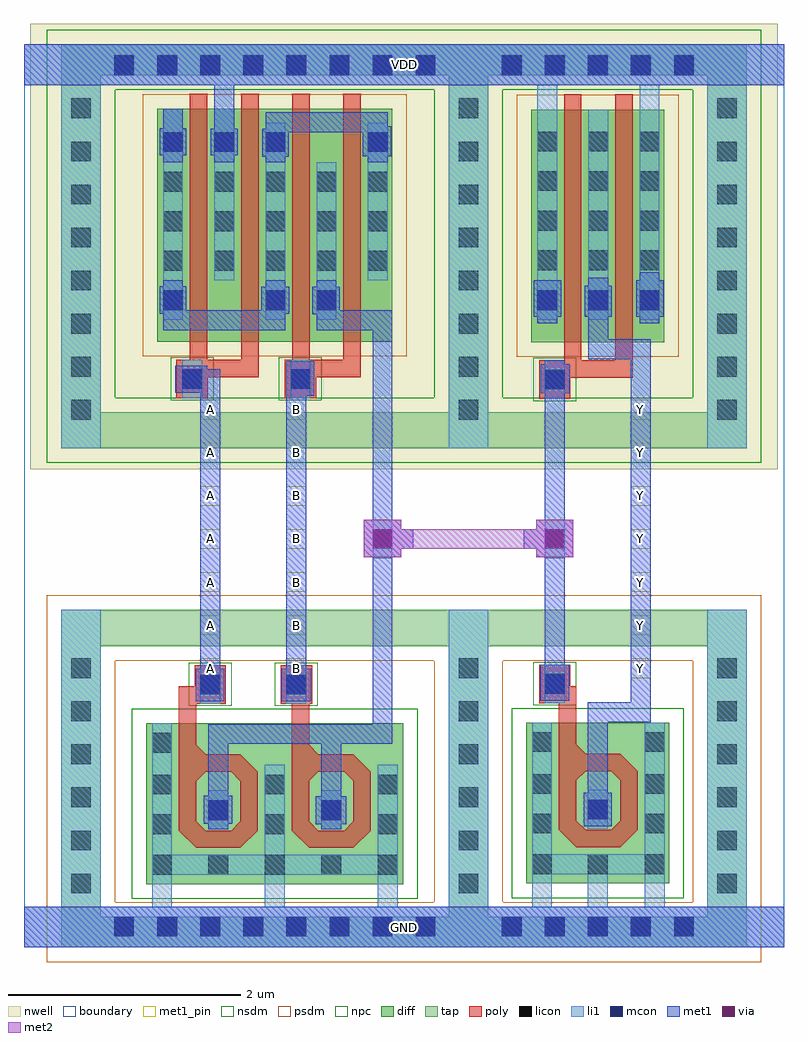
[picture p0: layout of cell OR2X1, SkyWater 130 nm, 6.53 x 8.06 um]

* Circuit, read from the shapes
.subckt OR2X1 A B GND VDD Y
XM1 GND A n1 GND sky130_fd_pr__nfet_01v8 w=2.56 l=0.1461
XM2 GND B n1 GND sky130_fd_pr__nfet_01v8 w=2.56 l=0.1479
XM3 GND n1 Y GND sky130_fd_pr__nfet_01v8 w=2.56 l=0.1518
XM4 VDD A n2 VDD sky130_fd_pr__pfet_01v8 w=2 l=0.15 m=2
XM5 n1 B n2 VDD sky130_fd_pr__pfet_01v8 w=2 l=0.15 m=2
XM6 Y n1 VDD VDD sky130_fd_pr__pfet_01v8 w=2 l=0.15 m=2
.ends

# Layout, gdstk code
from math import pi, radians
import gdstk
lib = gdstk.Library(unit=1e-6, precision=1e-09)
def R(c, l, rs):  # rectangles x0, y0, x1, y1
    for r in rs: c.add(gdstk.rectangle(r[:2], r[2:], *l))
def A(c, l, x, y, w, h, nx, ny, dx, dy):  # array of equal rectangles
    R(c, l, [(x+i*dx, y+j*dy, x+i*dx+w, y+j*dy+h) for i in range(nx) for j in range(ny)])
def P(c, l, *ps):  # polygons
    for p in ps: c.add(gdstk.Polygon(p, *l))
nwell = (64, 20)
diff = (65, 20)
tap = (65, 44)
poly = (66, 20)
licon = (66, 44)
li1 = (67, 20)
mcon = (67, 44)
met1_pin = (68, 16)
met1 = (68, 20)
via = (68, 44)
met2 = (69, 20)
nsdm = (93, 44)
psdm = (94, 20)
npc = (95, 20)
boundary = (235, 4)

diff_ring_side = lib.new_cell('diff_ring_side')
R(diff_ring_side, nwell, [(-0.435,3.93,0.435,7.75)])
R(diff_ring_side, tap, [(-0.17,-0.17,0.17,2.72), (-0.17,4.11,0.17,7.57)])
A(diff_ring_side, licon, -0.085, 0.285, 0.17, 0.17, 1, 6, 0, 0.37)
A(diff_ring_side, licon, -0.085, 4.355, 0.17, 0.17, 1, 8, 0, 0.37)
R(diff_ring_side, li1, [(-0.17,-0.17,0.17,2.72), (-0.17,4.11,0.17,7.57)])
R(diff_ring_side, met1, [(-0.17,-0.17,0.17,0.17), (-0.17,7.23,0.17,7.57)])
R(diff_ring_side, nsdm, [(-0.295,3.985,0.295,7.695)])
R(diff_ring_side, psdm, [(-0.295,-0.295,0.295,2.845)])

nmos_top_trim1 = lib.new_cell('nmos_top_trim1')
R(nmos_top_trim1, diff, [(0,0,1.24,1.38)])
R(nmos_top_trim1, poly, [(0.43,0.31,0.81,0.46), (0.28,0.46,0.43,0.965), (0.81,0.46,0.96,0.965), (0.43,0.965,0.96,1.115), (0.81,1.115,0.96,1.545)])
P(nmos_top_trim1, poly, [(0.73,1.115),(0.81,1.115),(0.81,1.195)],
  [(0.28,0.965),(0.43,0.965),(0.43,1.115)],
  [(0.43,0.885),(0.43,0.965),(0.51,0.965)],
  [(0.73,0.965),(0.81,0.965),(0.81,0.885)],
  [(0.43,0.54),(0.43,0.46),(0.51,0.46)],
  [(0.73,0.46),(0.81,0.46),(0.81,0.54)],
  [(0.28,0.46),(0.43,0.46),(0.43,0.31)],
  [(0.81,0.31),(0.81,0.46),(0.96,0.46)])
A(nmos_top_trim1, licon, 0.05, 0.08, 0.17, 0.17, 3, 1, 0.485, 0)
R(nmos_top_trim1, licon, [(0.05,0.43,0.22,0.6), (1.02,0.43,1.19,0.6), (0.535,0.55,0.705,0.72), (0.05,0.77,0.22,0.94), (1.02,0.77,1.19,0.94), (1.02,1.13,1.19,1.3)])
R(nmos_top_trim1, li1, [(0.05,0,0.22,0.08), (1.02,0,1.19,0.08), (0.05,0.08,1.19,0.25), (0.05,0.25,0.22,1.02), (1.02,0.25,1.19,1.38), (0.535,0.47,0.705,0.805)])
R(nmos_top_trim1, nsdm, [(-0.125,-0.125,1.365,1.505)])

pmos2_1 = lib.new_cell('pmos2_1')
R(pmos2_1, nwell, [(0.26,-2.175,1.76,0.185)])
R(pmos2_1, diff, [(0.44,-1.995,1.58,0.005)])
R(pmos2_1, poly, [(0.72,-2.3,1.31,-2.15), (0.72,-2.15,0.87,0.135), (1.16,-2.15,1.31,0.135)])
A(pmos2_1, licon, 0.49, -1.385, 0.17, 0.17, 3, 3, 0.44, 0.34)
A(pmos2_1, li1, 0.49, -1.465, 0.17, 1.01, 3, 1, 0.44, 0)
R(pmos2_1, psdm, [(0.315,-2.12,1.705,0.13)])

poly_li1_contact = lib.new_cell('poly_li1_contact')
R(poly_li1_contact, poly, [(-0.16,-0.14,0.17,0.13)])
R(poly_li1_contact, licon, [(-0.08,-0.09,0.09,0.08)])
R(poly_li1_contact, li1, [(-0.16,-0.09,0.17,0.08)])
R(poly_li1_contact, npc, [(-0.18,-0.19,0.19,0.18)])

nmos_top_trim2 = lib.new_cell('nmos_top_trim2')
R(nmos_top_trim2, diff, [(0,0,1.24,1.38)])
R(nmos_top_trim2, poly, [(0.43,0.31,0.81,0.46), (0.28,0.46,0.43,0.89), (0.81,0.46,0.96,0.89), (0.28,0.89,0.435,0.965), (0.805,0.89,0.96,0.965), (0.43,0.965,0.96,1.115), (0.81,1.115,0.96,1.545)])
P(nmos_top_trim2, poly, [(0.73,1.115),(0.81,1.115),(0.81,1.195)],
  [(0.28,0.965),(0.43,0.965),(0.43,1.115)],
  [(0.435,0.89),(0.435,0.965),(0.51,0.965)],
  [(0.73,0.965),(0.805,0.965),(0.805,0.89)],
  [(0.43,0.54),(0.43,0.46),(0.51,0.46)],
  [(0.73,0.46),(0.81,0.46),(0.81,0.54)],
  [(0.28,0.46),(0.43,0.46),(0.43,0.31)],
  [(0.81,0.31),(0.81,0.46),(0.96,0.46)])
A(nmos_top_trim2, licon, 0.05, 0.08, 0.17, 0.17, 3, 1, 0.485, 0)
R(nmos_top_trim2, licon, [(0.05,0.43,0.22,0.6), (1.02,0.43,1.19,0.6), (0.535,0.55,0.705,0.72), (0.05,0.77,0.22,0.94), (1.02,0.77,1.19,0.94)])
R(nmos_top_trim2, li1, [(0.05,0,0.22,0.08), (1.02,0,1.19,0.08), (0.05,0.08,1.19,0.25), (0.05,0.25,0.22,1.025), (1.02,0.25,1.19,1.025), (0.535,0.47,0.705,0.805)])
R(nmos_top_trim2, nsdm, [(-0.125,-0.125,1.365,1.505)])

nor2x1_pcell = lib.new_cell('nor2x1_pcell')
R(nor2x1_pcell, nwell, [(0.435,3.93,2.895,7.75)])
A(nor2x1_pcell, diff, 0.705, 6.655, 0.17, 0.17, 3, 1, 0.44, 0)
R(nor2x1_pcell, diff, [(0.705,5.215,0.875,5.465), (1.585,5.215,1.755,5.25), (2.025,5.215,2.195,5.25), (1.585,5.295,1.755,5.465), (2.025,5.295,2.195,5.465), (2.465,6.655,2.635,6.825)])
R(nor2x1_pcell, tap, [(0.17,-0.17,3.16,0.085), (0.17,2.41,3.16,2.72), (0.17,4.11,3.16,4.42), (0.17,7.315,3.16,7.57)])
R(nor2x1_pcell, poly, [(0.84,1.875,0.99,2.065), (1.81,1.91,1.96,1.915)])
A(nor2x1_pcell, licon, 0.285, -0.085, 0.17, 0.17, 8, 2, 0.37, 7.4)
A(nor2x1_pcell, licon, 0.705, 6.655, 0.17, 0.17, 3, 1, 0.44, 0)
R(nor2x1_pcell, licon, [(0.705,5.295,0.875,5.465), (1.585,5.295,1.755,5.465), (2.025,5.295,2.195,5.465), (2.465,6.655,2.635,6.825)])
R(nor2x1_pcell, li1, [(0.165,-0.17,3.285,0.17), (0.61,0.17,0.78,0.785), (1.58,0.17,1.75,0.445), (2.55,0.17,2.72,0.445), (1.095,0.915,1.265,1.085), (2.065,0.915,2.235,1.085), (1.025,1.995,1.195,2.165), (1.765,1.995,1.935,2.165), (0.87,4.62,1.04,4.79), (1.8,4.62,1.97,4.79), (0.705,5.215,0.875,5.975), (1.585,5.215,1.755,5.975), (2.025,5.215,2.195,5.975), (1.145,6.145,1.315,7.025), (1.585,6.145,1.755,6.905), (2.465,6.145,2.635,6.905), (0.705,6.56,0.875,7.025), (-0.17,7.23,3.335,7.57)])
A(nor2x1_pcell, mcon, 0.285, -0.085, 0.17, 0.17, 8, 2, 0.37, 7.4)
A(nor2x1_pcell, mcon, 0.705, 6.655, 0.17, 0.17, 3, 1, 0.44, 0)
R(nor2x1_pcell, mcon, [(1.095,0.915,1.265,1.085), (2.065,0.915,2.235,1.085), (1.025,1.995,1.195,2.165), (1.765,1.995,1.935,2.165), (0.87,4.62,1.04,4.79), (1.8,4.62,1.97,4.79), (0.705,5.295,0.875,5.465), (1.585,5.295,1.755,5.465), (2.025,5.295,2.195,5.465), (2.465,6.655,2.635,6.825)])
R(nor2x1_pcell, met1, [(0.17,-0.17,3.16,0.17), (1.095,0.835,1.265,0.885), (2.065,0.835,2.235,0.88), (2.015,0.88,2.28,1.12), (1.055,0.885,1.3,1.125), (2.065,1.12,2.235,1.57), (1.095,1.125,1.265,1.57), (1.095,1.57,2.675,1.74), (2.505,1.74,2.675,5.125), (0.985,1.935,1.23,2.215), (1.72,1.935,1.975,2.215), (1.025,2.215,1.195,4.585), (1.765,2.215,1.935,4.56), (1.765,4.56,2.005,4.855), (0.81,4.585,1.195,4.79), (0.81,4.79,1.085,4.82), (0.705,5.125,1.755,5.265), (2.025,5.125,2.675,5.26), (1.985,5.26,2.675,5.295), (0.675,5.265,1.79,5.295), (0.675,5.295,0.905,5.5), (1.55,5.295,1.79,5.495), (1.985,5.295,2.225,5.495), (1.585,5.495,1.755,5.555), (2.025,5.495,2.195,5.555), (0.705,5.5,0.875,5.555), (0.705,6.565,0.875,6.625), (1.145,6.565,1.315,6.625), (1.585,6.565,1.755,6.615), (2.465,6.565,2.635,6.62), (1.555,6.615,1.785,6.825), (2.42,6.62,2.665,6.825), (0.675,6.625,0.905,6.86), (1.115,6.625,1.345,6.855), (1.555,6.825,2.665,6.855), (1.145,6.855,1.315,7.23), (1.585,6.855,2.665,6.875), (0.705,6.86,0.875,7.025), (1.585,6.875,2.635,6.995), (0.17,7.23,3.16,7.57)])
R(nor2x1_pcell, nsdm, [(0.045,3.985,3.285,4.545), (0.045,7.19,3.285,7.695)])
R(nor2x1_pcell, psdm, [(0.045,-0.295,3.285,0.21), (0.045,2.285,3.285,2.845), (0.58,5.09,1,5.59), (1.46,5.09,2.32,5.59), (0.58,6.53,1.88,6.95), (2.34,6.53,2.76,6.95)])
nor2x1_pcell.add(gdstk.Reference(diff_ring_side, (0,0)))
nor2x1_pcell.add(gdstk.Reference(nmos_top_trim1, (1.8,0.365), rotation=pi, x_reflection=True))
nor2x1_pcell.add(gdstk.Reference(pmos2_1, (0.215,7.02)))
nor2x1_pcell.add(gdstk.Reference(poly_li1_contact, (0.96,4.71), rotation=3*pi/2))
nor2x1_pcell.add(gdstk.Reference(poly_li1_contact, (1.115,2.085), rotation=3*pi/2))
nor2x1_pcell.add(gdstk.Reference(nmos_top_trim2, (2.77,0.365), rotation=pi, x_reflection=True))
nor2x1_pcell.add(gdstk.Reference(pmos2_1, (1.095,7.02)))
nor2x1_pcell.add(gdstk.Reference(poly_li1_contact, (1.845,2.075), rotation=pi/2))
nor2x1_pcell.add(gdstk.Reference(poly_li1_contact, (1.89,4.71), rotation=3*pi/2))
nor2x1_pcell.add(gdstk.Reference(diff_ring_side, (3.33,0)))

li1_m1_contact = lib.new_cell('li1_M1_contact')
R(li1_m1_contact, li1, [(-0.085,-0.165,0.085,0.165)])
R(li1_m1_contact, mcon, [(-0.085,-0.085,0.085,0.085)])
R(li1_m1_contact, met1, [(-0.115,-0.115,0.115,-0.085), (-0.265,-0.085,0.145,0.085), (-0.115,0.085,0.115,0.115)])

pmos2 = lib.new_cell('pmos2')
R(pmos2, nwell, [(0.26,-2.18,1.76,0.18)])
R(pmos2, diff, [(0.44,-2,1.58,0)])
R(pmos2, poly, [(0.72,-2.305,1.31,-2.155), (0.72,-2.155,0.87,0.13), (1.16,-2.155,1.31,0.13)])
A(pmos2, licon, 0.49, -1.38, 0.17, 0.17, 3, 4, 0.44, 0.34)
R(pmos2, li1, [(0.49,-1.465,0.66,0.21), (0.93,-1.465,1.1,0), (1.37,-1.465,1.54,0.21)])
R(pmos2, psdm, [(0.315,-2.125,1.705,0.125)])

nmos_top = lib.new_cell('nmos_top')
R(nmos_top, diff, [(0,0,1.23,1.38)])
R(nmos_top, poly, [(0.42,0.31,0.8,0.46), (0.27,0.46,0.42,0.965), (0.8,0.46,0.95,0.965), (0.42,0.965,0.95,1.115), (0.8,1.115,0.95,1.54)])
P(nmos_top, poly, [(0.72,1.115),(0.8,1.115),(0.8,1.195)],
  [(0.27,0.965),(0.42,0.965),(0.42,1.115)],
  [(0.42,0.885),(0.42,0.965),(0.5,0.965)],
  [(0.72,0.965),(0.8,0.965),(0.8,0.885)],
  [(0.42,0.54),(0.42,0.46),(0.5,0.46)],
  [(0.72,0.46),(0.8,0.46),(0.8,0.54)],
  [(0.27,0.46),(0.42,0.46),(0.42,0.31)],
  [(0.8,0.31),(0.8,0.46),(0.95,0.46)])
R(nmos_top, licon, [(0.04,0.08,0.21,0.25), (0.53,0.08,0.7,0.25), (1.01,0.08,1.18,0.25), (0.04,0.43,0.21,0.6), (1.01,0.43,1.18,0.6), (0.53,0.55,0.7,0.72), (0.04,0.77,0.21,0.94), (1.01,0.77,1.18,0.94), (0.04,1.13,0.21,1.3), (1.01,1.13,1.18,1.3)])
R(nmos_top, li1, [(0.04,0,0.21,0.08), (1.01,0,1.18,0.08), (0.04,0.08,1.18,0.25), (0.04,0.25,0.21,1.38), (1.01,0.25,1.18,1.38), (0.53,0.47,0.7,0.805)])
R(nmos_top, nsdm, [(-0.125,-0.125,1.355,1.505)])

invx1_pcell = lib.new_cell('invx1_pcell')
R(invx1_pcell, nwell, [(-0.435,3.93,2.655,7.75)])
A(invx1_pcell, diff, 0.59, 5.295, 0.17, 0.17, 3, 1, 0.44, 0)
R(invx1_pcell, tap, [(0.17,-0.17,2.05,0.085), (0.17,2.41,2.05,2.72), (0.17,4.11,2.05,4.42), (0.17,7.315,2.05,7.57)])
R(invx1_pcell, poly, [(0.775,1.905,0.925,2.065)])
A(invx1_pcell, licon, 0.285, -0.085, 0.17, 0.17, 5, 2, 0.37, 7.4)
A(invx1_pcell, licon, 0.59, 5.295, 0.17, 0.17, 3, 1, 0.44, 0)
A(invx1_pcell, li1, 0.59, 5.215, 0.17, 0.37, 3, 1, 0.44, 0)
R(invx1_pcell, li1, [(-0.17,-0.17,2.33,0.17), (0.545,0.17,0.715,0.42), (1.025,0.17,1.195,0.45), (1.515,0.17,1.685,0.45), (1.025,0.92,1.195,1.09), (0.655,2,0.825,2.17), (0.655,4.615,0.825,4.785), (-0.17,7.23,2.39,7.57)])
A(invx1_pcell, mcon, 0.285, -0.085, 0.17, 0.17, 5, 2, 0.37, 7.4)
A(invx1_pcell, mcon, 0.59, 5.295, 0.17, 0.17, 3, 1, 0.44, 0)
R(invx1_pcell, mcon, [(1.025,0.92,1.195,1.09), (0.655,2,0.825,2.17), (0.655,4.615,0.825,4.785)])
R(invx1_pcell, met1, [(-0.17,-0.17,2.39,0.17), (0.99,0.86,1.23,1.15), (1.025,1.15,1.195,1.755), (1.025,1.755,1.565,1.925), (1.395,1.925,1.565,4.875), (0.615,1.94,0.865,2.25), (0.655,2.25,0.825,4.58), (0.62,4.58,0.87,4.83), (0.655,4.83,0.825,4.865), (1.03,4.875,1.565,5.045), (1.03,5.045,1.2,5.24), (0.59,5.185,0.76,5.24), (1.47,5.185,1.64,5.24), (0.56,5.24,0.795,5.555), (1,5.24,1.23,5.505), (1.44,5.24,1.675,5.555), (1.03,5.505,1.2,5.575), (1.47,5.555,1.64,5.62), (-0.17,7.23,2.39,7.57)])
R(invx1_pcell, nsdm, [(0.045,3.985,2.175,4.545), (0.045,7.19,2.175,7.695)])
R(invx1_pcell, psdm, [(0.045,-0.295,2.175,0.21), (0.045,2.285,2.175,2.845), (0.465,5.17,1.765,5.59)])
invx1_pcell.add(gdstk.Reference(poly_li1_contact, (0.735,2.08), rotation=pi/2))
invx1_pcell.add(gdstk.Reference(poly_li1_contact, (0.745,4.705), rotation=3*pi/2))
invx1_pcell.add(gdstk.Reference(pmos2, (0.1,7.02)))
invx1_pcell.add(gdstk.Reference(nmos_top, (1.725,0.37), rotation=pi, x_reflection=True))
invx1_pcell.add(gdstk.Reference(diff_ring_side, (0,0)))
invx1_pcell.add(gdstk.Reference(diff_ring_side, (2.22,0)))

or2x1_pcell = lib.new_cell('or2x1_pcell')
R(or2x1_pcell, met1, [(2.43,3.175,2.75,3.495), (3.91,3.175,4.23,3.495)])
R(or2x1_pcell, via, [(2.515,3.26,2.665,3.41), (3.995,3.26,4.145,3.41)])
R(or2x1_pcell, met2, [(2.43,3.175,2.75,3.245), (3.91,3.175,4.23,3.245), (2.43,3.245,4.23,3.415), (2.43,3.415,2.75,3.495), (3.91,3.415,4.23,3.495)])
or2x1_pcell.add(gdstk.Reference(nor2x1_pcell, (0,0)))
or2x1_pcell.add(gdstk.Reference(li1_m1_contact, (4.07,3.33)))
or2x1_pcell.add(gdstk.Reference(li1_m1_contact, (2.59,3.33), rotation=pi))
or2x1_pcell.add(gdstk.Reference(invx1_pcell, (3.33,0)))

or2x1 = lib.new_cell('OR2X1')
R(or2x1, nwell, [(0.055,4.115,6.475,7.935)])
R(or2x1, tap, [(0.32,0,6.21,0.055), (0.32,7.75,6.21,7.76)])
R(or2x1, li1, [(0,0,6.53,0.35), (0,7.41,6.53,7.76)])
A(or2x1, met1_pin, 1.515, 2.315, 0.17, 0.17, 1, 7, 0, 0.37)
A(or2x1, met1_pin, 2.255, 2.315, 0.17, 0.17, 1, 7, 0, 0.37)
A(or2x1, met1_pin, 5.215, 2.315, 0.17, 0.17, 1, 7, 0, 0.37)
R(or2x1, met1_pin, [(0,0,6.53,0.35), (0,7.41,6.53,7.76)])
A(or2x1, met1, 1.515, 2.315, 0.17, 0.17, 1, 7, 0, 0.37)
A(or2x1, met1, 2.255, 2.315, 0.17, 0.17, 1, 7, 0, 0.37)
A(or2x1, met1, 5.215, 2.315, 0.17, 0.17, 1, 7, 0, 0.37)
R(or2x1, met1, [(0,0,6.53,0.35), (0,7.41,6.53,7.76)])
R(or2x1, nsdm, [(0.195,7.625,6.335,7.885)])
R(or2x1, psdm, [(0.195,-0.125,6.335,0.18)])
R(or2x1, boundary, [(0,0,6.53,7.76)])
or2x1.add(gdstk.Reference(or2x1_pcell, (0.49,0.18)))
or2x1.add(gdstk.Label('Y', (5.3,4.62), layer=68, texttype=5))
or2x1.add(gdstk.Label('Y', (5.3,4.25), layer=68, texttype=5))
or2x1.add(gdstk.Label('Y', (5.3,3.88), layer=68, texttype=5))
or2x1.add(gdstk.Label('Y', (5.3,3.51), layer=68, texttype=5))
or2x1.add(gdstk.Label('Y', (5.3,3.14), layer=68, texttype=5))
or2x1.add(gdstk.Label('Y', (5.3,2.77), layer=68, texttype=5))
or2x1.add(gdstk.Label('Y', (5.3,2.4), layer=68, texttype=5))
or2x1.add(gdstk.Label('A', (1.6,2.4), layer=68, texttype=5))
or2x1.add(gdstk.Label('A', (1.6,2.77), layer=68, texttype=5))
or2x1.add(gdstk.Label('A', (1.6,3.14), layer=68, texttype=5))
or2x1.add(gdstk.Label('A', (1.6,3.51), layer=68, texttype=5))
or2x1.add(gdstk.Label('A', (1.6,3.88), layer=68, texttype=5))
or2x1.add(gdstk.Label('A', (1.6,4.25), layer=68, texttype=5))
or2x1.add(gdstk.Label('A', (1.6,4.62), layer=68, texttype=5))
or2x1.add(gdstk.Label('B', (2.34,2.4), layer=68, texttype=5))
or2x1.add(gdstk.Label('B', (2.34,2.77), layer=68, texttype=5))
or2x1.add(gdstk.Label('B', (2.34,3.14), layer=68, texttype=5))
or2x1.add(gdstk.Label('B', (2.34,3.51), layer=68, texttype=5))
or2x1.add(gdstk.Label('B', (2.34,3.88), layer=68, texttype=5))
or2x1.add(gdstk.Label('B', (2.34,4.25), layer=68, texttype=5))
or2x1.add(gdstk.Label('B', (2.34,4.62), layer=68, texttype=5))
or2x1.add(gdstk.Label('VDD', (3.265,7.585), layer=68, texttype=5))
or2x1.add(gdstk.Label('GND', (3.265,0.175), layer=68, texttype=5))

lib.write_gds('OR2X1.gds')
